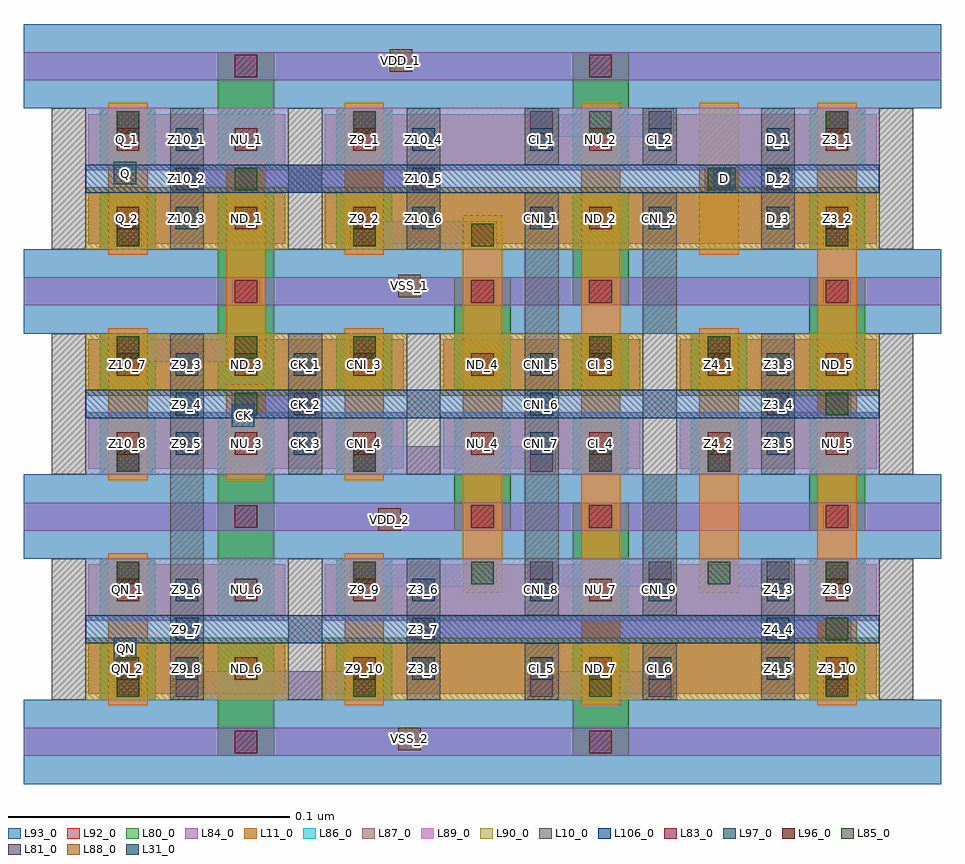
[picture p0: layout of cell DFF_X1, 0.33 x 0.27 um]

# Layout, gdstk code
import gdstk
lib = gdstk.Library(unit=1e-6, precision=1e-09)
def R(c, l, rs):  # rectangles x0, y0, x1, y1
    for r in rs: c.add(gdstk.rectangle(r[:2], r[2:], *l))
def A(c, l, x, y, w, h, nx, ny, dx, dy):  # array of equal rectangles
    R(c, l, [(x+i*dx, y+j*dy, x+i*dx+w, y+j*dy+h) for i in range(nx) for j in range(ny)])
L10_0 = (10, 0)
L11_0 = (11, 0)
L31_0 = (31, 0)
L80_0 = (80, 0)
L81_0 = (81, 0)
L83_0 = (83, 0)
L84_0 = (84, 0)
L85_0 = (85, 0)
L86_0 = (86, 0)
L87_0 = (87, 0)
L88_0 = (88, 0)
L89_0 = (89, 0)
L90_0 = (90, 0)
L92_0 = (92, 0)
L93_0 = (93, 0)
L96_0 = (96, 0)
L97_0 = (97, 0)
L106_0 = (106, 0)

dff_x1 = lib.new_cell('DFF_X1')
A(dff_x1, L10_0, 0.225, -0.145, 0.012, 0.05, 1, 3, 0, 0.08)
A(dff_x1, L10_0, 0.267, -0.145, 0.012, 0.05, 1, 3, 0, 0.08)
A(dff_x1, L10_0, -0.027, 0.015, 0.012, 0.05, 4, 1, 0.042, 0)
R(dff_x1, L10_0, [(-0.027,-0.145,-0.015,-0.095), (0.015,-0.145,0.027,-0.015), (0.057,-0.145,0.069,-0.095), (0.099,-0.145,0.111,-0.095), (0.141,-0.145,0.153,-0.125), (0.183,-0.145,0.195,-0.125), (0.141,-0.115,0.153,-0.095), (0.141,-0.115,0.153,0.035), (0.183,-0.115,0.195,0.035), (-0.027,-0.065,-0.015,-0.015), (0.057,-0.065,0.069,-0.015), (0.099,-0.065,0.111,-0.015), (0.141,0.045,0.153,0.065), (0.183,0.045,0.195,0.065)])
A(dff_x1, L11_0, -0.007, -0.147, 0.014, 0.034, 4, 2, 0.084, 0.02)
A(dff_x1, L11_0, 0.119, -0.107, 0.014, 0.034, 4, 2, 0.042, 0.02)
A(dff_x1, L11_0, -0.007, -0.067, 0.014, 0.034, 7, 1, 0.042, 0)
A(dff_x1, L11_0, 0.077, -0.047, 0.014, 0.034, 5, 1, 0.042, 0)
A(dff_x1, L11_0, 0.161, -0.027, 0.014, 0.034, 1, 3, 0, 0.02)
A(dff_x1, L11_0, 0.245, -0.027, 0.014, 0.034, 1, 3, 0, 0.02)
A(dff_x1, L11_0, -0.007, 0.013, 0.014, 0.034, 3, 1, 0.042, 0)
A(dff_x1, L11_0, -0.007, 0.033, 0.014, 0.034, 4, 1, 0.084, 0)
R(dff_x1, L11_0, [(-0.007,-0.047,0.007,-0.013), (0.035,-0.027,0.049,0.007), (0.119,-0.027,0.133,0.007), (0.035,-0.007,0.049,0.027), (0.119,-0.007,0.133,0.027), (0.203,0.013,0.217,0.067)])
R(dff_x1, L31_0, [(-0.005,-0.131,0.003,-0.123), (0.037,-0.048,0.045,-0.04), (0.208,0.036,0.216,0.044), (-0.005,0.038,0.003,0.046)])
A(dff_x1, L80_0, 0.032, -0.165, 0.02, 0.021, 1, 3, 0, 0.08)
A(dff_x1, L80_0, -0.01, -0.145, 0.02, 0.02, 3, 2, 0.042, 0.16)
A(dff_x1, L80_0, 0.032, -0.104, 0.02, 0.029, 1, 3, 0, 0.08)
A(dff_x1, L80_0, -0.01, -0.065, 0.02, 0.02, 7, 1, 0.042, 0)
R(dff_x1, L80_0, [(0.158,-0.165,0.178,-0.144), (0.158,-0.145,0.178,-0.125), (0.242,-0.145,0.262,-0.125), (-0.01,-0.115,0.01,-0.095), (-0.01,-0.115,0.01,-0.095), (0.032,-0.115,0.052,-0.095), (0.032,-0.115,0.052,-0.095), (0.074,-0.115,0.094,-0.095), (0.074,-0.115,0.094,-0.095), (0.158,-0.115,0.178,-0.095), (0.158,-0.115,0.178,-0.095), (0.242,-0.115,0.262,-0.095), (0.242,-0.115,0.262,-0.095), (0.158,-0.104,0.178,-0.075), (0.116,-0.085,0.136,-0.064), (0.242,-0.085,0.262,-0.064), (-0.01,-0.035,0.01,-0.015), (-0.01,-0.035,0.01,-0.015), (0.032,-0.035,0.052,-0.015), (0.032,-0.035,0.052,-0.015), (0.074,-0.035,0.094,-0.015), (0.074,-0.035,0.094,-0.015), (0.116,-0.035,0.136,-0.015), (0.116,-0.035,0.136,-0.015), (0.158,-0.035,0.178,-0.015), (0.158,-0.035,0.178,-0.015), (0.2,-0.035,0.22,-0.015), (0.2,-0.035,0.22,-0.015), (0.242,-0.035,0.262,-0.015), (0.242,-0.035,0.262,-0.015), (0.116,-0.024,0.136,0.005), (0.242,-0.024,0.262,0.005), (0.158,-0.005,0.178,0.016), (0.158,0.015,0.178,0.035), (0.242,0.015,0.262,0.035), (-0.01,0.045,0.01,0.065), (-0.01,0.045,0.01,0.065), (0.032,0.045,0.052,0.065), (0.032,0.045,0.052,0.065), (0.074,0.045,0.094,0.065), (0.074,0.045,0.094,0.065), (0.158,0.045,0.178,0.065), (0.158,0.045,0.178,0.065), (0.242,0.045,0.262,0.065), (0.242,0.045,0.262,0.065), (0.158,0.056,0.178,0.085)])
A(dff_x1, L81_0, 0.143, -0.104, 0.008, 0.008, 3, 1, 0.042, 0)
R(dff_x1, L81_0, [(0.017,-0.144,0.025,-0.136), (0.143,-0.144,0.151,-0.136), (0.185,-0.144,0.193,-0.136), (0.101,-0.124,0.109,-0.116), (0.143,-0.064,0.151,-0.056), (0.059,-0.044,0.067,-0.036), (0.059,-0.044,0.067,-0.036), (0.227,-0.044,0.235,-0.036), (0.017,0.036,0.025,0.044), (0.101,0.036,0.109,0.044), (0.101,0.036,0.109,0.044), (0.227,0.036,0.235,0.044), (0.227,0.036,0.235,0.044), (0.143,0.056,0.151,0.064), (0.143,0.056,0.151,0.064), (0.185,0.056,0.193,0.064), (0.185,0.056,0.193,0.064)])
A(dff_x1, L83_0, 0.164, -0.164, 0.008, 0.008, 1, 4, 0, 0.08)
A(dff_x1, L83_0, -0.004, -0.064, 0.008, 0.008, 3, 2, 0.084, 0.04)
R(dff_x1, L83_0, [(0.038,-0.164,0.046,-0.156), (-0.004,-0.144,0.004,-0.136), (0.08,-0.144,0.088,-0.136), (0.248,-0.144,0.256,-0.136), (-0.004,-0.104,0.004,-0.096), (0.08,-0.104,0.088,-0.096), (0.248,-0.104,0.256,-0.096), (0.038,-0.084,0.046,-0.076), (0.038,-0.084,0.046,-0.076), (0.122,-0.084,0.13,-0.076), (0.248,-0.084,0.256,-0.076), (0.206,-0.064,0.214,-0.056), (0.206,-0.024,0.214,-0.016), (0.038,-0.004,0.046,0.004), (0.038,-0.004,0.046,0.004), (0.122,-0.004,0.13,0.004), (0.248,-0.004,0.256,0.004), (-0.004,0.016,0.004,0.024), (0.08,0.016,0.088,0.024), (0.08,0.016,0.088,0.024), (0.248,0.016,0.256,0.024), (0.248,0.016,0.256,0.024), (-0.004,0.056,0.004,0.064), (-0.004,0.056,0.004,0.064), (-0.004,0.056,0.004,0.064), (-0.004,0.056,0.004,0.064), (-0.004,0.056,0.004,0.064), (-0.004,0.056,0.004,0.064), (0.08,0.056,0.088,0.064), (0.08,0.056,0.088,0.064), (0.248,0.056,0.256,0.064), (0.248,0.056,0.256,0.064), (0.038,0.076,0.046,0.084)])
A(dff_x1, L84_0, -0.037, -0.165, 0.326, 0.01, 1, 4, 0, 0.08)
A(dff_x1, L84_0, -0.005, -0.145, 0.01, 0.01, 1, 3, 0, 0.04)
A(dff_x1, L84_0, 0.016, -0.145, 0.031, 0.01, 3, 1, 0.021, 0)
A(dff_x1, L84_0, 0.1, -0.125, 0.031, 0.01, 7, 1, 0.021, 0)
A(dff_x1, L84_0, 0.079, -0.065, 0.031, 0.01, 3, 1, 0.021, 0)
A(dff_x1, L84_0, 0.016, 0.035, 0.031, 0.01, 4, 1, 0.021, 0)
R(dff_x1, L84_0, [(0.142,-0.145,0.173,-0.135), (0.163,-0.145,0.194,-0.135), (0.247,-0.145,0.257,-0.135), (0.079,-0.105,0.11,-0.095), (0.1,-0.105,0.131,-0.095), (0.142,-0.105,0.194,-0.095), (0.205,-0.105,0.236,-0.095), (0.247,-0.105,0.257,-0.095), (0.163,-0.065,0.173,-0.055), (0.205,-0.065,0.215,-0.055), (0.037,-0.045,0.068,-0.035), (0.226,-0.045,0.257,-0.035), (-0.005,-0.025,0.026,-0.015), (0.016,-0.025,0.047,-0.015), (0.079,-0.025,0.089,-0.015), (0.163,-0.025,0.173,-0.015), (0.205,-0.025,0.215,-0.015), (-0.005,0.015,0.005,0.025), (0.079,0.015,0.11,0.025), (0.1,0.015,0.131,0.025), (0.247,0.015,0.257,0.025), (0.205,0.035,0.236,0.045), (-0.005,0.055,0.005,0.065), (0.079,0.055,0.089,0.065), (0.142,0.055,0.173,0.065), (0.163,0.055,0.194,0.065), (0.247,0.055,0.257,0.065)])
A(dff_x1, L85_0, -0.004, -0.144, 0.008, 0.008, 4, 2, 0.084, 0.2)
A(dff_x1, L85_0, 0.206, -0.104, 0.008, 0.008, 1, 3, 0, 0.04)
A(dff_x1, L85_0, 0.248, -0.104, 0.008, 0.008, 1, 3, 0, 0.06)
A(dff_x1, L85_0, -0.004, -0.064, 0.008, 0.008, 3, 1, 0.084, 0)
A(dff_x1, L85_0, -0.004, -0.024, 0.008, 0.008, 3, 1, 0.042, 0)
R(dff_x1, L85_0, [(0.248,-0.124,0.256,-0.116), (-0.004,-0.104,0.004,-0.096), (0.08,-0.104,0.088,-0.096), (0.122,-0.104,0.13,-0.096), (0.038,-0.044,0.046,-0.036), (0.038,-0.044,0.046,-0.036), (0.164,-0.024,0.172,-0.016), (-0.004,0.016,0.004,0.024), (0.08,0.016,0.088,0.024), (0.122,0.016,0.13,0.024), (0.038,0.036,0.046,0.044), (0.206,0.036,0.214,0.044)])
R(dff_x1, L86_0, [(-0.015,-0.117,0.057,-0.095), (0.069,-0.117,0.267,-0.095), (-0.015,-0.065,0.099,-0.043), (0.111,-0.065,0.183,-0.043), (0.195,-0.065,0.267,-0.043), (-0.015,0.043,0.057,0.065), (0.069,0.043,0.267,0.065)])
R(dff_x1, L87_0, [(-0.015,-0.145,0.057,-0.123), (0.069,-0.145,0.267,-0.123), (-0.015,-0.037,0.099,-0.015), (0.111,-0.037,0.183,-0.015), (0.195,-0.037,0.267,-0.015), (-0.015,0.015,0.057,0.037), (0.069,0.015,0.267,0.037)])
R(dff_x1, L88_0, [(0.096,-0.163,0.104,-0.155), (0.089,-0.085,0.097,-0.077), (0.096,-0.002,0.104,0.006), (0.093,0.078,0.101,0.086)])
R(dff_x1, L89_0, [(-0.015,-0.117,0.057,-0.095), (0.069,-0.117,0.267,-0.095), (-0.015,-0.065,0.099,-0.043), (0.111,-0.065,0.183,-0.043), (0.195,-0.065,0.267,-0.043), (-0.015,0.043,0.057,0.065), (0.069,0.043,0.267,0.065)])
R(dff_x1, L90_0, [(-0.015,-0.145,0.057,-0.123), (0.069,-0.145,0.267,-0.123), (-0.015,-0.037,0.099,-0.015), (0.111,-0.037,0.183,-0.015), (0.195,-0.037,0.267,-0.015), (-0.015,0.015,0.057,0.037), (0.069,0.015,0.267,0.037)])
R(dff_x1, L92_0, [(-0.014,-0.143,0.056,-0.125), (0.07,-0.143,0.266,-0.125), (-0.014,-0.115,0.056,-0.097), (0.07,-0.115,0.266,-0.097), (-0.014,-0.063,0.098,-0.045), (0.112,-0.063,0.182,-0.045), (0.196,-0.063,0.266,-0.045), (-0.014,-0.035,0.098,-0.017), (0.112,-0.035,0.182,-0.017), (0.196,-0.035,0.266,-0.017), (-0.014,0.017,0.056,0.035), (0.07,0.017,0.266,0.035), (-0.014,0.045,0.056,0.063), (0.07,0.045,0.266,0.063)])
A(dff_x1, L93_0, -0.037, -0.175, 0.326, 0.03, 1, 4, 0, 0.08)
A(dff_x1, L96_0, -0.004, -0.138, 0.008, 0.008, 3, 2, 0.042, 0.028)
A(dff_x1, L96_0, -0.004, -0.058, 0.008, 0.008, 7, 2, 0.042, 0.028)
A(dff_x1, L96_0, -0.004, 0.022, 0.008, 0.008, 3, 2, 0.042, 0.028)
R(dff_x1, L96_0, [(0.164,-0.138,0.172,-0.13), (0.248,-0.138,0.256,-0.13), (0.164,-0.11,0.172,-0.102), (0.248,-0.11,0.256,-0.102), (0.164,0.022,0.172,0.03), (0.248,0.022,0.256,0.03), (0.164,0.05,0.172,0.058), (0.248,0.05,0.256,0.058)])
A(dff_x1, L97_0, 0.017, -0.138, 0.008, 0.008, 1, 3, 0, 0.014)
A(dff_x1, L97_0, 0.101, -0.138, 0.008, 0.008, 4, 2, 0.042, 0.028)
A(dff_x1, L97_0, 0.017, -0.058, 0.008, 0.008, 1, 3, 0, 0.014)
A(dff_x1, L97_0, 0.059, -0.058, 0.008, 0.008, 3, 3, 0.084, 0.014)
A(dff_x1, L97_0, 0.017, 0.022, 0.008, 0.008, 1, 3, 0, 0.014)
A(dff_x1, L97_0, 0.101, 0.022, 0.008, 0.008, 4, 2, 0.042, 0.028)
R(dff_x1, L97_0, [(0.101,-0.124,0.109,-0.116), (0.227,-0.124,0.235,-0.116), (0.101,0.036,0.109,0.044), (0.227,0.036,0.235,0.044)])
A(dff_x1, L106_0, -0.015, -0.125, 0.282, 0.01, 1, 3, 0, 0.08)
dff_x1.add(gdstk.Label('VSS_1', (0.1,0.002), layer=88, texttype=0))
dff_x1.add(gdstk.Label('VSS_2', (0.1,-0.159), layer=88, texttype=0))
dff_x1.add(gdstk.Label('VDD_2', (0.093,-0.081), layer=88, texttype=0))
dff_x1.add(gdstk.Label('VDD_1', (0.097,0.082), layer=88, texttype=0))
dff_x1.add(gdstk.Label('Z9_8', (0.021,-0.134), layer=97, texttype=0))
dff_x1.add(gdstk.Label('Z9_6', (0.021,-0.106), layer=97, texttype=0))
dff_x1.add(gdstk.Label('Z9_7', (0.021,-0.12), layer=97, texttype=0))
dff_x1.add(gdstk.Label('Z3_8', (0.105,-0.134), layer=97, texttype=0))
dff_x1.add(gdstk.Label('Z3_7', (0.105,-0.12), layer=97, texttype=0))
dff_x1.add(gdstk.Label('Z3_6', (0.105,-0.106), layer=97, texttype=0))
dff_x1.add(gdstk.Label('CNI_8', (0.147,-0.106), layer=97, texttype=0))
dff_x1.add(gdstk.Label('CI_5', (0.147,-0.134), layer=97, texttype=0))
dff_x1.add(gdstk.Label('CNI_9', (0.189,-0.106), layer=97, texttype=0))
dff_x1.add(gdstk.Label('CI_6', (0.189,-0.134), layer=97, texttype=0))
dff_x1.add(gdstk.Label('Z4_5', (0.231,-0.134), layer=97, texttype=0))
dff_x1.add(gdstk.Label('Z4_3', (0.231,-0.106), layer=97, texttype=0))
dff_x1.add(gdstk.Label('Z4_4', (0.231,-0.12), layer=97, texttype=0))
dff_x1.add(gdstk.Label('Z3_5', (0.231,-0.054), layer=97, texttype=0))
dff_x1.add(gdstk.Label('Z3_4', (0.231,-0.04), layer=97, texttype=0))
dff_x1.add(gdstk.Label('Z3_3', (0.231,-0.026), layer=97, texttype=0))
dff_x1.add(gdstk.Label('CNI_6', (0.147,-0.04), layer=97, texttype=0))
dff_x1.add(gdstk.Label('CNI_5', (0.147,-0.026), layer=97, texttype=0))
dff_x1.add(gdstk.Label('CNI_7', (0.147,-0.054), layer=97, texttype=0))
dff_x1.add(gdstk.Label('CK_1', (0.063,-0.026), layer=97, texttype=0))
dff_x1.add(gdstk.Label('CK_2', (0.063,-0.04), layer=97, texttype=0))
dff_x1.add(gdstk.Label('CK_3', (0.063,-0.054), layer=97, texttype=0))
dff_x1.add(gdstk.Label('Z9_5', (0.021,-0.054), layer=97, texttype=0))
dff_x1.add(gdstk.Label('Z9_3', (0.021,-0.026), layer=97, texttype=0))
dff_x1.add(gdstk.Label('Z9_4', (0.021,-0.04), layer=97, texttype=0))
dff_x1.add(gdstk.Label('Z10_3', (0.021,0.026), layer=97, texttype=0))
dff_x1.add(gdstk.Label('Z10_2', (0.021,0.04), layer=97, texttype=0))
dff_x1.add(gdstk.Label('Z10_1', (0.021,0.054), layer=97, texttype=0))
dff_x1.add(gdstk.Label('Z10_6', (0.105,0.026), layer=97, texttype=0))
dff_x1.add(gdstk.Label('Z10_5', (0.105,0.04), layer=97, texttype=0))
dff_x1.add(gdstk.Label('Z10_4', (0.105,0.054), layer=97, texttype=0))
dff_x1.add(gdstk.Label('CI_1', (0.147,0.054), layer=97, texttype=0))
dff_x1.add(gdstk.Label('CNI_1', (0.147,0.026), layer=97, texttype=0))
dff_x1.add(gdstk.Label('CI_2', (0.189,0.054), layer=97, texttype=0))
dff_x1.add(gdstk.Label('CNI_2', (0.189,0.026), layer=97, texttype=0))
dff_x1.add(gdstk.Label('D_3', (0.231,0.026), layer=97, texttype=0))
dff_x1.add(gdstk.Label('D_2', (0.231,0.04), layer=97, texttype=0))
dff_x1.add(gdstk.Label('D_1', (0.231,0.054), layer=97, texttype=0))
dff_x1.add(gdstk.Label('Q', (-0.001,0.042), layer=31, texttype=0))
dff_x1.add(gdstk.Label('QN', (-0.001,-0.127), layer=31, texttype=0))
dff_x1.add(gdstk.Label('CK', (0.041,-0.044), layer=31, texttype=0))
dff_x1.add(gdstk.Label('D', (0.212,0.04), layer=31, texttype=0))
dff_x1.add(gdstk.Label('QN_2', (0,-0.134), layer=96, texttype=0))
dff_x1.add(gdstk.Label('QN_1', (0,-0.106), layer=96, texttype=0))
dff_x1.add(gdstk.Label('NU_6', (0.042,-0.106), layer=96, texttype=0))
dff_x1.add(gdstk.Label('ND_6', (0.042,-0.134), layer=96, texttype=0))
dff_x1.add(gdstk.Label('Z9_9', (0.084,-0.106), layer=96, texttype=0))
dff_x1.add(gdstk.Label('Z9_10', (0.084,-0.134), layer=96, texttype=0))
dff_x1.add(gdstk.Label('ND_7', (0.168,-0.134), layer=96, texttype=0))
dff_x1.add(gdstk.Label('NU_7', (0.168,-0.106), layer=96, texttype=0))
dff_x1.add(gdstk.Label('Z3_10', (0.252,-0.134), layer=96, texttype=0))
dff_x1.add(gdstk.Label('Z3_9', (0.252,-0.106), layer=96, texttype=0))
dff_x1.add(gdstk.Label('ND_5', (0.252,-0.026), layer=96, texttype=0))
dff_x1.add(gdstk.Label('NU_5', (0.252,-0.054), layer=96, texttype=0))
dff_x1.add(gdstk.Label('Z4_1', (0.21,-0.026), layer=96, texttype=0))
dff_x1.add(gdstk.Label('Z4_2', (0.21,-0.054), layer=96, texttype=0))
dff_x1.add(gdstk.Label('CI_4', (0.168,-0.054), layer=96, texttype=0))
dff_x1.add(gdstk.Label('CI_3', (0.168,-0.026), layer=96, texttype=0))
dff_x1.add(gdstk.Label('NU_4', (0.126,-0.054), layer=96, texttype=0))
dff_x1.add(gdstk.Label('ND_4', (0.126,-0.026), layer=96, texttype=0))
dff_x1.add(gdstk.Label('CNI_3', (0.084,-0.026), layer=96, texttype=0))
dff_x1.add(gdstk.Label('CNI_4', (0.084,-0.054), layer=96, texttype=0))
dff_x1.add(gdstk.Label('ND_3', (0.042,-0.026), layer=96, texttype=0))
dff_x1.add(gdstk.Label('NU_3', (0.042,-0.054), layer=96, texttype=0))
dff_x1.add(gdstk.Label('Z10_8', (0,-0.054), layer=96, texttype=0))
dff_x1.add(gdstk.Label('Z10_7', (0,-0.026), layer=96, texttype=0))
dff_x1.add(gdstk.Label('Q_2', (0,0.026), layer=96, texttype=0))
dff_x1.add(gdstk.Label('Q_1', (0,0.054), layer=96, texttype=0))
dff_x1.add(gdstk.Label('NU_1', (0.042,0.054), layer=96, texttype=0))
dff_x1.add(gdstk.Label('ND_1', (0.042,0.026), layer=96, texttype=0))
dff_x1.add(gdstk.Label('Z9_1', (0.084,0.054), layer=96, texttype=0))
dff_x1.add(gdstk.Label('Z9_2', (0.084,0.026), layer=96, texttype=0))
dff_x1.add(gdstk.Label('Z3_2', (0.252,0.026), layer=96, texttype=0))
dff_x1.add(gdstk.Label('Z3_1', (0.252,0.054), layer=96, texttype=0))
dff_x1.add(gdstk.Label('ND_2', (0.168,0.026), layer=96, texttype=0))
dff_x1.add(gdstk.Label('NU_2', (0.168,0.054), layer=96, texttype=0))

lib.write_gds('DFF_X1.gds')
